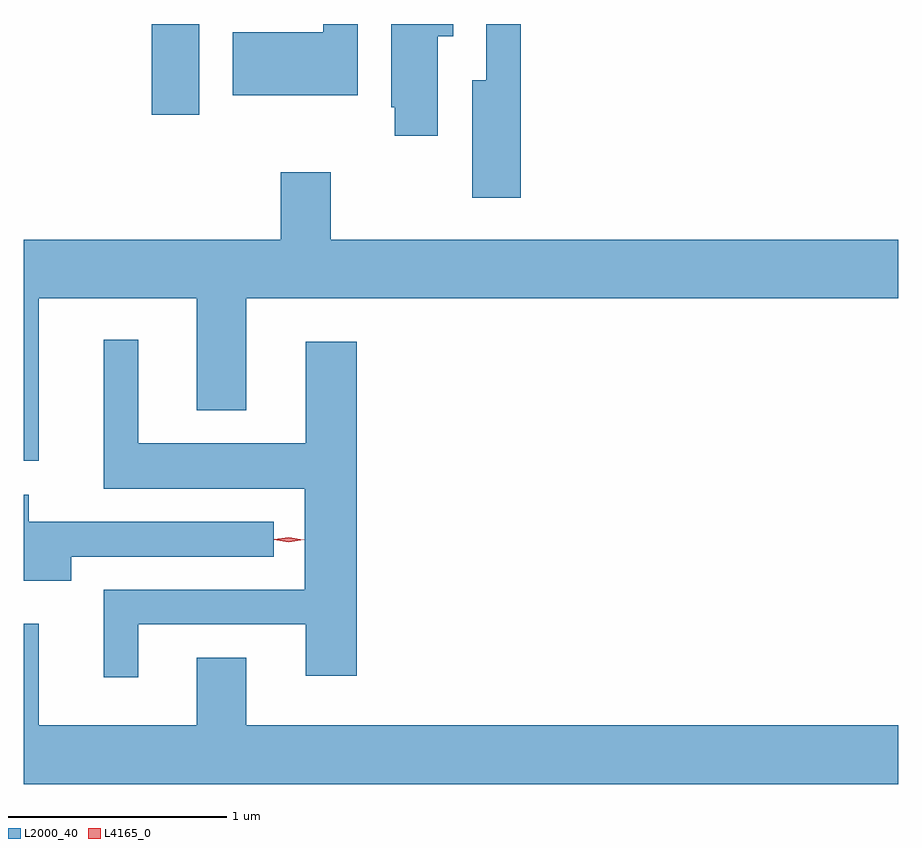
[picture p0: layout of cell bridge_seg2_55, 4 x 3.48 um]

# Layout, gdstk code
import gdstk
lib = gdstk.Library(unit=1e-6, precision=1e-09)
def R(c, l, rs):  # rectangles x0, y0, x1, y1
    for r in rs: c.add(gdstk.rectangle(r[:2], r[2:], *l))
def P(c, l, *ps):  # polygons
    for p in ps: c.add(gdstk.Polygon(p, *l))
L2000_40 = (2000, 40)
L4165_0 = (4165, 0)

bridge_seg2_55 = lib.new_cell('bridge_seg2_55')
R(bridge_seg2_55, L2000_40, [(1280.896,1031.396,1281.114,1031.811)])
P(bridge_seg2_55, L2000_40, [(1282.204,1031.756),(1282.274,1031.756),(1282.274,1031.811),(1281.991,1031.811),(1281.991,1031.43),(1282.006,1031.43),(1282.006,1031.301),(1282.204,1031.301)],
  [(1282.584,1031.811),(1282.426,1031.811),(1282.426,1031.554),(1282.361,1031.554),(1282.361,1031.016),(1282.584,1031.016)],
  [(1281.839,1031.811),(1281.681,1031.811),(1281.681,1031.774),(1281.266,1031.774),(1281.266,1031.486),(1281.839,1031.486)],
  [(1280.379,1030.556),(1281.101,1030.556),(1281.101,1030.046),(1281.329,1030.046),(1281.329,1030.556),(1284.31,1030.556),(1284.31,1030.824),(1281.714,1030.824),(1281.714,1031.134),(1281.486,1031.134),(1281.486,1030.824),(1280.31,1030.824),(1280.31,1029.813),(1280.379,1029.813)],
  [(1280.834,1029.066),(1281.601,1029.066),(1281.601,1028.831),(1281.834,1028.831),(1281.834,1030.359),(1281.601,1030.359),(1281.601,1029.894),(1280.834,1029.894),(1280.834,1030.368),(1280.676,1030.368),(1280.676,1029.686),(1281.596,1029.686),(1281.596,1029.224),(1280.676,1029.224),(1280.676,1028.823),(1280.834,1028.823)],
  [(1280.529,1029.376),(1281.453,1029.376),(1281.453,1029.534),(1280.334,1029.534),(1280.334,1029.659),(1280.31,1029.659),(1280.31,1029.266),(1280.529,1029.266)],
  [(1284.31,1028.604),(1281.329,1028.604),(1281.329,1028.914),(1281.101,1028.914),(1281.101,1028.604),(1280.379,1028.604),(1280.379,1029.068),(1280.31,1029.068),(1280.31,1028.336),(1284.31,1028.336)])
P(bridge_seg2_55, L4165_0, [(1281.523,1029.442),(1281.454,1029.452),(1281.454,1029.452),(1281.454,1029.453),(1281.523,1029.462),(1281.592,1029.453),(1281.593,1029.452),(1281.592,1029.452)],
  [(1281.523,1029.444),(1281.457,1029.454),(1281.457,1029.455),(1281.457,1029.455),(1281.523,1029.464),(1281.589,1029.453),(1281.59,1029.452),(1281.589,1029.452)])

lib.write_gds('bridge_seg2_55.gds')
